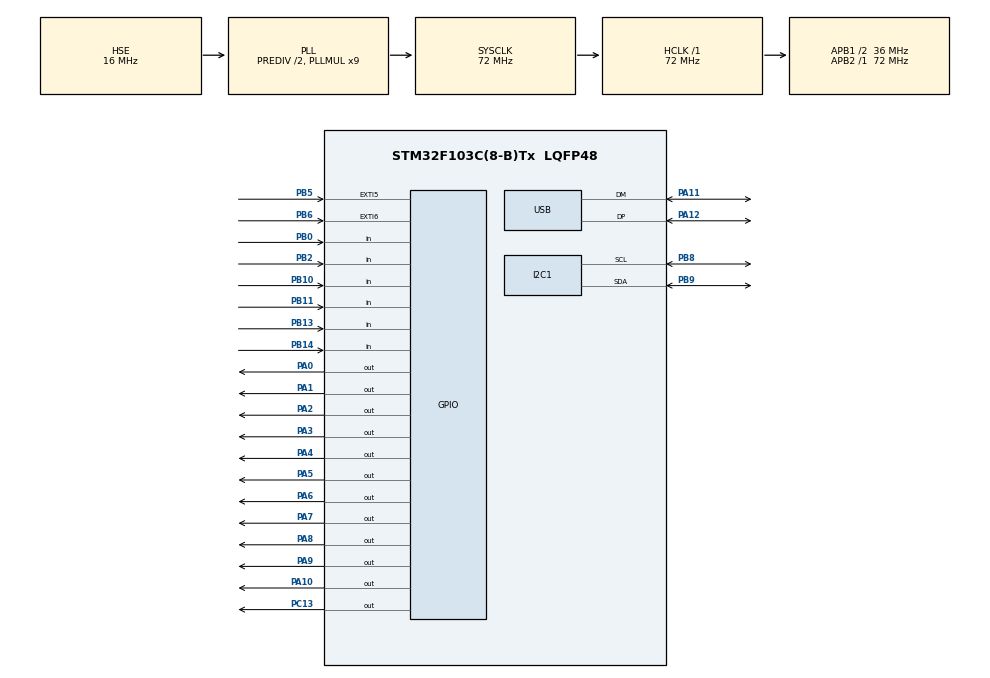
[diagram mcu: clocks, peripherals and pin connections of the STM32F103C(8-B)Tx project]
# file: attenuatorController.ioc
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I2C1.I2C_Mode=I2C_Fast
Mcu.Family=STM32F1
Mcu.Name=STM32F103C(8-B)Tx
Mcu.Package=LQFP48
NVIC.EXTI9_5_IRQn=true\:0\:0\:false\:false\:true\:true\:true\:true
NVIC.PriorityGroup=NVIC_PRIORITYGROUP_4
NVIC.USB_LP_CAN1_RX0_IRQn=true\:0\:0\:false\:false\:true\:false\:true\:true
PA0-WKUP.Signal=GPIO_Output
PA1.Signal=GPIO_Output
PA10.Signal=GPIO_Output
PA11.Mode=Device
PA11.Signal=USB_DM
PA12.Mode=Device
PA12.Signal=USB_DP
PA13.Mode=Serial_Wire
PA13.Signal=SYS_JTMS-SWDIO
PA14.Mode=Serial_Wire
PA14.Signal=SYS_JTCK-SWCLK
PA2.Signal=GPIO_Output
PA3.Signal=GPIO_Output
PA4.Signal=GPIO_Output
PA5.Signal=GPIO_Output
PA6.Signal=GPIO_Output
PA7.Signal=GPIO_Output
PA8.Signal=GPIO_Output
PA9.Signal=GPIO_Output
PB0.Signal=GPIO_Input
PB10.Signal=GPIO_Input
PB11.Signal=GPIO_Input
PB13.Signal=GPIO_Input
PB14.Signal=GPIO_Input
PB2.Signal=GPIO_Input
PB5.GPIO_ModeDefaultEXTI=GPIO_MODE_IT_FALLING
PB5.GPIO_PuPd=GPIO_PULLUP
PB5.Signal=GPXTI5
PB6.GPIO_ModeDefaultEXTI=GPIO_MODE_IT_FALLING
PB6.GPIO_PuPd=GPIO_PULLUP
PB6.Signal=GPXTI6
PB8.Mode=I2C
PB8.Signal=I2C1_SCL
PB9.Mode=I2C
PB9.Signal=I2C1_SDA
PC13-TAMPER-RTC.GPIO_ModeDefaultOutputPP=GPIO_MODE_OUTPUT_OD
PC13-TAMPER-RTC.GPIO_PuPd=GPIO_NOPULL
PC13-TAMPER-RTC.Signal=GPIO_Output
PD0-OSC_IN.Mode=HSE-External-Oscillator
PD0-OSC_IN.Signal=RCC_OSC_IN
PD1-OSC_OUT.Mode=HSE-External-Oscillator
PD1-OSC_OUT.Signal=RCC_OSC_OUT
ProjectManager.HeapSize=0x200
ProjectManager.StackSize=0x400
ProjectManager.TargetToolchain=STM32CubeIDE
RCC.AHBFreq_Value=72000000
RCC.APB1CLKDivider=RCC_HCLK_DIV2
RCC.APB1Freq_Value=36000000
RCC.APB1TimFreq_Value=72000000
RCC.APB2Freq_Value=72000000
RCC.APB2TimFreq_Value=72000000
RCC.HCLKFreq_Value=72000000
RCC.HSEDivPLL=RCC_HSE_PREDIV_DIV2
RCC.HSE_VALUE=16000000
RCC.PLLMUL=RCC_PLL_MUL9
RCC.SYSCLKFreq_VALUE=72000000
RCC.SYSCLKSource=RCC_SYSCLKSOURCE_PLLCLK
RCC.USBFreq_Value=48000000
RCC.USBPrescaler=RCC_USBCLKSOURCE_PLL_DIV1_5
USB_DEVICE.CLASS_NAME_FS=CDC
USB_DEVICE.VirtualMode=Cdc
USB_DEVICE.VirtualModeFS=Cdc_FS
VP_USB_DEVICE_VS_USB_DEVICE_CDC_FS.Mode=CDC_FS
board=custom

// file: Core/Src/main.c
/* USER CODE BEGIN Header */
/**
  ******************************************************************************
  * @file           : main.c
  * @brief          : Main program body
  ******************************************************************************
  * @attention
  *
  * <h2><center>&copy; Copyright (c) 2023 STMicroelectronics.
  * All rights reserved.</center></h2>
  *
  * This software component is licensed by ST under BSD 3-Clause license,
  * the "License"; You may not use this file except in compliance with the
  * License. You may obtain a copy of the License at:
  *                        opensource.org/licenses/BSD-3-Clause
  *
  ******************************************************************************
  */
/* USER CODE END Header */
#include "main.h"
#include "usb_device.h"

/* USER CODE BEGIN Includes */
#include "usbd_cdc_if.h"
//#include "ht16k33_7seg.h"
#include "ht16k33.h"
/* USER CODE END Includes */

/* USER CODE BEGIN PD */

#define NUM_GPIO_PINS			7

#define HV_EN_PORT 				GPIOA
#define HV_EN_PIN 				GPIO_PIN_7
#define LED_PORT 				GPIOA
#define LED_PIN 				GPIO_PIN_8

#define RELAY_PORT				GPIOA
#define REL1 					GPIO_PIN_9
#define REL2 					GPIO_PIN_10
#define REL4 					GPIO_PIN_4
#define REL8 					GPIO_PIN_3
#define REL16 					GPIO_PIN_2
#define REL32 					GPIO_PIN_1
#define REL64 					GPIO_PIN_0

const uint8_t MAX_BRIGHT = 15;
/* USER CODE END PD */

I2C_HandleTypeDef hi2c1;

/* USER CODE BEGIN PV */

volatile int rotary_value = 0;

/* USER CODE END PV */

void SystemClock_Config(void);
static void MX_GPIO_Init(void);
static void MX_I2C1_Init(void);
/* USER CODE BEGIN PFP */
void convertToUint8Array(int8_t value, uint8_t array[4]);
/* USER CODE END PFP */

/* USER CODE BEGIN 0 */
uint8_t *data = "Hello World from USB CDC\n";

int8_t i = -127;
int ht16k33inrange = 0;
/* USER CODE END 0 */

int main(void)
{

  /* MCU Configuration--------------------------------------------------------*/

  /* Reset of all peripherals, Initializes the Flash interface and the Systick. */
  HAL_Init();

  /* Configure the system clock */
  SystemClock_Config();

  /* Initialize all configured peripherals */
  MX_GPIO_Init();
  MX_I2C1_Init();
  MX_USB_DEVICE_Init();
  /* USER CODE BEGIN 2 */

  seg7_init(); //initialize display
  seg7_setBrightness(5);		// 0 .. 15	  0 = off, 15 = max. brightness
  HAL_Delay(10);
  seg7_displayOn();	// enable display
  HAL_GPIO_WritePin(HV_EN_PORT, HV_EN_PIN, SET); // turn on 12V boost.

  uint8_t buffer[20];
  sprintf(buffer, "Attenuator V1");
  CDC_Transmit_FS(buffer, sizeof(buffer));

  /* USER CODE END 2 */

  /* Infinite loop */
  /* USER CODE BEGIN WHILE */
  while (1)
  {

	  uint8_t attenuationValue = rotary_value/2;
	  seg7_displayAtt(attenuationValue);

	  setAttenuator(attenuationValue);
	  HAL_Delay(250);

    /* USER CODE END WHILE */

  }
}

void SystemClock_Config(void)
{
  RCC_OscInitTypeDef RCC_OscInitStruct = {0};
  RCC_ClkInitTypeDef RCC_ClkInitStruct = {0};
  RCC_PeriphCLKInitTypeDef PeriphClkInit = {0};

  /** Initializes the RCC Oscillators according to the specified parameters
  * in the RCC_OscInitTypeDef structure.
  */
  RCC_OscInitStruct.OscillatorType = RCC_OSCILLATORTYPE_HSE;
  RCC_OscInitStruct.HSEState = RCC_HSE_ON;
  RCC_OscInitStruct.HSEPredivValue = RCC_HSE_PREDIV_DIV2;
  RCC_OscInitStruct.HSIState = RCC_HSI_ON;
  RCC_OscInitStruct.PLL.PLLState = RCC_PLL_ON;
  RCC_OscInitStruct.PLL.PLLSource = RCC_PLLSOURCE_HSE;
  RCC_OscInitStruct.PLL.PLLMUL = RCC_PLL_MUL9;
  if (HAL_RCC_OscConfig(&RCC_OscInitStruct) != HAL_OK)
  {
    Error_Handler();
  }

  /** Initializes the CPU, AHB and APB buses clocks
  */
  RCC_ClkInitStruct.ClockType = RCC_CLOCKTYPE_HCLK|RCC_CLOCKTYPE_SYSCLK
                              |RCC_CLOCKTYPE_PCLK1|RCC_CLOCKTYPE_PCLK2;
  RCC_ClkInitStruct.SYSCLKSource = RCC_SYSCLKSOURCE_PLLCLK;
  RCC_ClkInitStruct.AHBCLKDivider = RCC_SYSCLK_DIV1;
  RCC_ClkInitStruct.APB1CLKDivider = RCC_HCLK_DIV2;
  RCC_ClkInitStruct.APB2CLKDivider = RCC_HCLK_DIV1;

  if (HAL_RCC_ClockConfig(&RCC_ClkInitStruct, FLASH_LATENCY_2) != HAL_OK)
  {
    Error_Handler();
  }
  PeriphClkInit.PeriphClockSelection = RCC_PERIPHCLK_USB;
  PeriphClkInit.UsbClockSelection = RCC_USBCLKSOURCE_PLL_DIV1_5;
  if (HAL_RCCEx_PeriphCLKConfig(&PeriphClkInit) != HAL_OK)
  {
    Error_Handler();
  }
}

static void MX_I2C1_Init(void)
{

  hi2c1.Instance = I2C1;
  hi2c1.Init.ClockSpeed = 400000;
  hi2c1.Init.DutyCycle = I2C_DUTYCYCLE_2;
  hi2c1.Init.OwnAddress1 = 0;
  hi2c1.Init.AddressingMode = I2C_ADDRESSINGMODE_7BIT;
  hi2c1.Init.DualAddressMode = I2C_DUALADDRESS_DISABLE;
  hi2c1.Init.OwnAddress2 = 0;
  hi2c1.Init.GeneralCallMode = I2C_GENERALCALL_DISABLE;
  hi2c1.Init.NoStretchMode = I2C_NOSTRETCH_DISABLE;
  if (HAL_I2C_Init(&hi2c1) != HAL_OK)
  {
    Error_Handler();
  }

}

static void MX_GPIO_Init(void)
{
  GPIO_InitTypeDef GPIO_InitStruct = {0};

  /* GPIO Ports Clock Enable */
  __HAL_RCC_GPIOC_CLK_ENABLE();
  __HAL_RCC_GPIOD_CLK_ENABLE();
  __HAL_RCC_GPIOA_CLK_ENABLE();
  __HAL_RCC_GPIOB_CLK_ENABLE();

  /*Configure GPIO pin Output Level */
  HAL_GPIO_WritePin(GPIOC, GPIO_PIN_13, GPIO_PIN_RESET);

  /*Configure GPIO pin Output Level */
  HAL_GPIO_WritePin(GPIOA, GPIO_PIN_0|GPIO_PIN_1|GPIO_PIN_2|GPIO_PIN_3
                          |GPIO_PIN_4|GPIO_PIN_5|GPIO_PIN_6|GPIO_PIN_7
                          |GPIO_PIN_8|GPIO_PIN_9|GPIO_PIN_10, GPIO_PIN_RESET);

  /*Configure GPIO pin : PC13 */
  GPIO_InitStruct.Pin = GPIO_PIN_13;
  GPIO_InitStruct.Mode = GPIO_MODE_OUTPUT_OD;
  GPIO_InitStruct.Pull = GPIO_NOPULL;
  GPIO_InitStruct.Speed = GPIO_SPEED_FREQ_LOW;
  HAL_GPIO_Init(GPIOC, &GPIO_InitStruct);

  /*Configure GPIO pins : PA0 PA1 PA2 PA3
                           PA4 PA5 PA6 PA7
                           PA8 PA9 PA10 */
  GPIO_InitStruct.Pin = GPIO_PIN_0|GPIO_PIN_1|GPIO_PIN_2|GPIO_PIN_3
                          |GPIO_PIN_4|GPIO_PIN_5|GPIO_PIN_6|GPIO_PIN_7
                          |GPIO_PIN_8|GPIO_PIN_9|GPIO_PIN_10;
  GPIO_InitStruct.Mode = GPIO_MODE_OUTPUT_PP;
  GPIO_InitStruct.Pull = GPIO_NOPULL;
  GPIO_InitStruct.Speed = GPIO_SPEED_FREQ_LOW;
  HAL_GPIO_Init(GPIOA, &GPIO_InitStruct);

  /*Configure GPIO pins : PB0 PB2 PB10 PB11
                           PB13 PB14 */
  GPIO_InitStruct.Pin = GPIO_PIN_0|GPIO_PIN_2|GPIO_PIN_10|GPIO_PIN_11
                          |GPIO_PIN_13|GPIO_PIN_14;
  GPIO_InitStruct.Mode = GPIO_MODE_INPUT;
  GPIO_InitStruct.Pull = GPIO_NOPULL;
  HAL_GPIO_Init(GPIOB, &GPIO_InitStruct);

  /*Configure GPIO pins : PB5 PB6 */
  GPIO_InitStruct.Pin = GPIO_PIN_5|GPIO_PIN_6;
  GPIO_InitStruct.Mode = GPIO_MODE_IT_FALLING;
  GPIO_InitStruct.Pull = GPIO_PULLUP;
  HAL_GPIO_Init(GPIOB, &GPIO_InitStruct);

  /* EXTI interrupt init*/
  HAL_NVIC_SetPriority(EXTI9_5_IRQn, 0, 0);
  HAL_NVIC_EnableIRQ(EXTI9_5_IRQn);

}

/* USER CODE BEGIN 4 */

//void rotary_encoder_update() {
//	HAL_GPIO_TogglePin(LED_PORT, LED_PIN);
//    static uint8_t last_state = 0;
//
//    uint8_t a_state = HAL_GPIO_ReadPin(GPIOB, GPIO_PIN_5);
//    uint8_t b_state = HAL_GPIO_ReadPin(GPIOB, GPIO_PIN_6);
//    uint8_t current_state = (a_state << 1) | b_state;
//
//    // if state is changed, update the last_debounce_time
//    if(current_state != last_state) {
//        last_debounce_time = HAL_GetTick();
//    }
//
//    // if more than DEBOUNCE_DELAY ms have passed, process the state
//    if((HAL_GetTick() - last_debounce_time) > DEBOUNCE_DELAY) {
//        // look at the changes from the last state to the current state
//        if(last_state == 0b00) {
//            // last_state = 0b00
//            if(current_state == 0b01) rotary_value++;
//            if(current_state == 0b10) rotary_value--;
//        } else if(last_state == 0b01) {
//            // last_state = 0b01
//            if(current_state == 0b11) rotary_value++;
//            if(current_state == 0b00) rotary_value--;
//        } else if(last_state == 0b10) {
//            // last_state = 0b10
//            if(current_state == 0b00) rotary_value++;
//            if(current_state == 0b11) rotary_value--;
//        } else {
//            // last_state = 0b11
//            if(current_state == 0b10) rotary_value++;
//            if(current_state == 0b01) rotary_value--;
//        }
//
//        // clamp the rotary_value to ROTARY_MIN_VALUE and ROTARY_MAX_VALUE
//        if(rotary_value > ROTARY_MAX_VALUE) rotary_value = ROTARY_MAX_VALUE;
//        if(rotary_value < ROTARY_MIN_VALUE) rotary_value = ROTARY_MIN_VALUE;
//    }
//
//    // update the last_state
//    last_state = current_state;
//}

void setAttenuator(uint8_t decimal) {
    if (decimal > 127) {
        //printf("Input out of range (0-127).\n");
        return;
    }

    int binary[NUM_GPIO_PINS] = {0};

    for (int i = NUM_GPIO_PINS - 1; i >= 0; --i) {
        binary[i] = decimal % 2;
        decimal = decimal / 2;
    }

    // Update GPIO states to reflect binary representation
    for (int i = 0; i < NUM_GPIO_PINS; ++i) {
    	switch(i) {
    	        case 0:
    	            if(binary[i] == 1){
    	            	HAL_GPIO_WritePin(RELAY_PORT, REL1, SET);
    	            }
    	            else{
    	            	HAL_GPIO_WritePin(RELAY_PORT, REL1, RESET);
    	            }
    	            break;
    	        case 1:
    	            if(binary[i] == 1){
    	            	HAL_GPIO_WritePin(RELAY_PORT, REL2, SET);
    	            }
    	            else{
    	            	HAL_GPIO_WritePin(RELAY_PORT, REL2, RESET);
    	            }
    	            break;
    	        case 2:
    	            if(binary[i] == 1){
    	            	HAL_GPIO_WritePin(RELAY_PORT, REL4, SET);
    	            }
    	            else{
    	            	HAL_GPIO_WritePin(RELAY_PORT, REL4, RESET);
    	            }
    	            break;
    	        case 3:
    	            if(binary[i] == 1){
    	            	HAL_GPIO_WritePin(RELAY_PORT, REL8, SET);
    	            }
    	            else{
    	            	HAL_GPIO_WritePin(RELAY_PORT, REL8, RESET);
    	            }
    	            break;
    	        case 4:
    	            if(binary[i] == 1){
    	            	HAL_GPIO_WritePin(RELAY_PORT, REL16, SET);
    	            }
    	            else{
    	            	HAL_GPIO_WritePin(RELAY_PORT, REL16, RESET);
    	            }
    	            break;
    	        case 5:
    	            if(binary[i] == 1){
    	            	HAL_GPIO_WritePin(RELAY_PORT, REL32, SET);
    	            }
    	            else{
    	            	HAL_GPIO_WritePin(RELAY_PORT, REL32, RESET);
    	            }
    	            break;
    	        case 6:
    	            if(binary[i] == 1){
    	            	HAL_GPIO_WritePin(RELAY_PORT, REL64, SET);
    	            }
    	            else{
    	            	HAL_GPIO_WritePin(RELAY_PORT, REL64, RESET);
    	            }
    	            break;
    	        default:

    	            break;
    	}
    }
}

void convertToUint8Array(int8_t value, uint8_t array[4])
{
    // Check if the value is negative
    if (value < 0) {
        array[0] = 17;  // Set the minus sign representation
        value *= -1;  // Convert the value to positive
    } else {
        array[0] = 0;  // Set the plus sign representation
    }

    // Convert the absolute value to a 4-element array
    array[3] = (uint8_t)(value % 10);
    array[2] = (uint8_t)((value / 10) % 10);
    array[1] = (uint8_t)((value / 100) % 10);
}

/* USER CODE END 4 */

void Error_Handler(void)
{
  __disable_irq();
  while (1)
  {
  }
}
